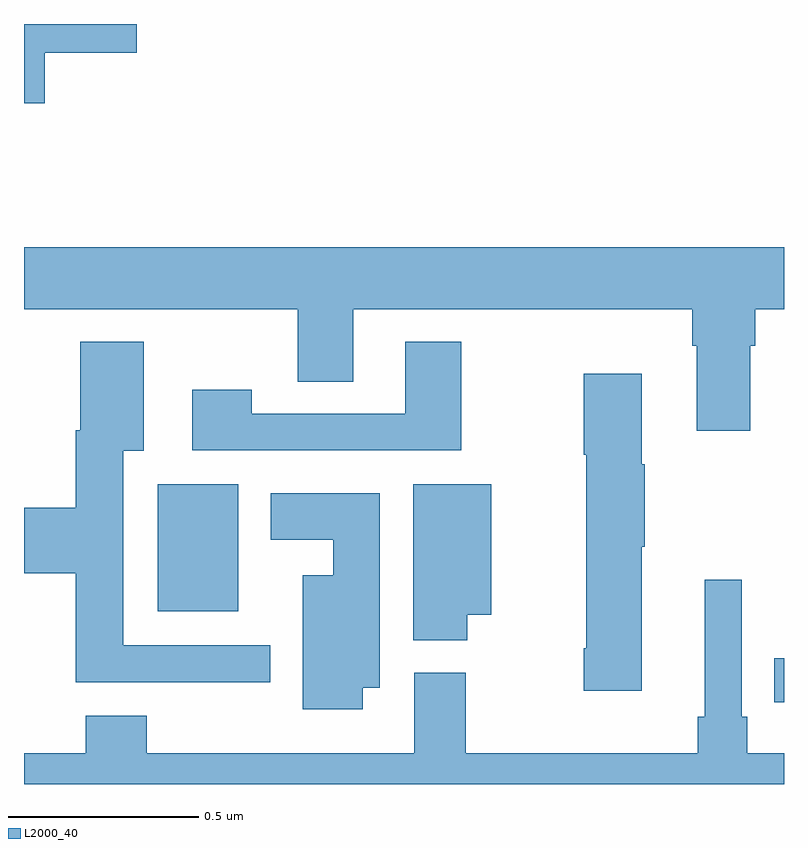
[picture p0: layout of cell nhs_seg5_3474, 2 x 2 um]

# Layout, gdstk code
import gdstk
lib = gdstk.Library(unit=1e-6, precision=1e-09)
def R(c, l, rs):  # rectangles x0, y0, x1, y1
    for r in rs: c.add(gdstk.rectangle(r[:2], r[2:], *l))
def P(c, l, *ps):  # polygons
    for p in ps: c.add(gdstk.Polygon(p, *l))
L2000_40 = (2000, 40)

nhs_seg5_3474 = lib.new_cell('nhs_seg5_3474')
R(nhs_seg5_3474, L2000_40, [(158.974,901.014,159,901.13), (157.352,901.253,157.564,901.588)])
P(nhs_seg5_3474, L2000_40, [(157.054,902.723),(157.297,902.723),(157.297,902.799),(157,902.799),(157,902.591),(157.054,902.591)],
  [(158.911,901.952),(158.924,901.952),(158.924,902.048),(159,902.048),(159,902.212),(157,902.212),(157,902.048),(157.72,902.048),(157.72,901.858),(157.867,901.858),(157.867,902.048),(158.759,902.048),(158.759,901.952),(158.771,901.952),(158.771,901.728),(158.911,901.728)],
  [(157.648,901.164),(157.261,901.164),(157.261,901.676),(157.315,901.676),(157.315,901.963),(157.148,901.963),(157.148,901.73),(157.136,901.73),(157.136,901.526),(157,901.526),(157,901.354),(157.136,901.354),(157.136,901.067),(157.648,901.067)],
  [(158.151,901.963),(158.003,901.963),(158.003,901.773),(157.599,901.773),(157.599,901.837),(157.443,901.837),(157.443,901.677),(158.151,901.677)],
  [(158.626,901.423),(158.634,901.423),(158.634,901.64),(158.626,901.64),(158.626,901.879),(158.473,901.879),(158.473,901.666),(158.48,901.666),(158.48,901.156),(158.473,901.156),(158.473,901.044),(158.626,901.044)],
  [(158.166,901.244),(158.23,901.244),(158.23,901.588),(158.024,901.588),(158.024,901.177),(158.166,901.177)],
  [(157.891,901.052),(157.936,901.052),(157.936,901.564),(157.649,901.564),(157.649,901.442),(157.814,901.442),(157.814,901.348),(157.733,901.348),(157.733,900.996),(157.891,900.996)],
  [(158.792,901.336),(158.792,900.976),(158.773,900.976),(158.773,900.88),(158.163,900.88),(158.163,901.092),(158.027,901.092),(158.027,900.88),(157.323,900.88),(157.323,900.979),(157.163,900.979),(157.163,900.88),(157,900.88),(157,900.799),(159,900.799),(159,900.88),(158.903,900.88),(158.903,900.976),(158.889,900.976),(158.889,901.336)])

lib.write_gds('nhs_seg5_3474.gds')
